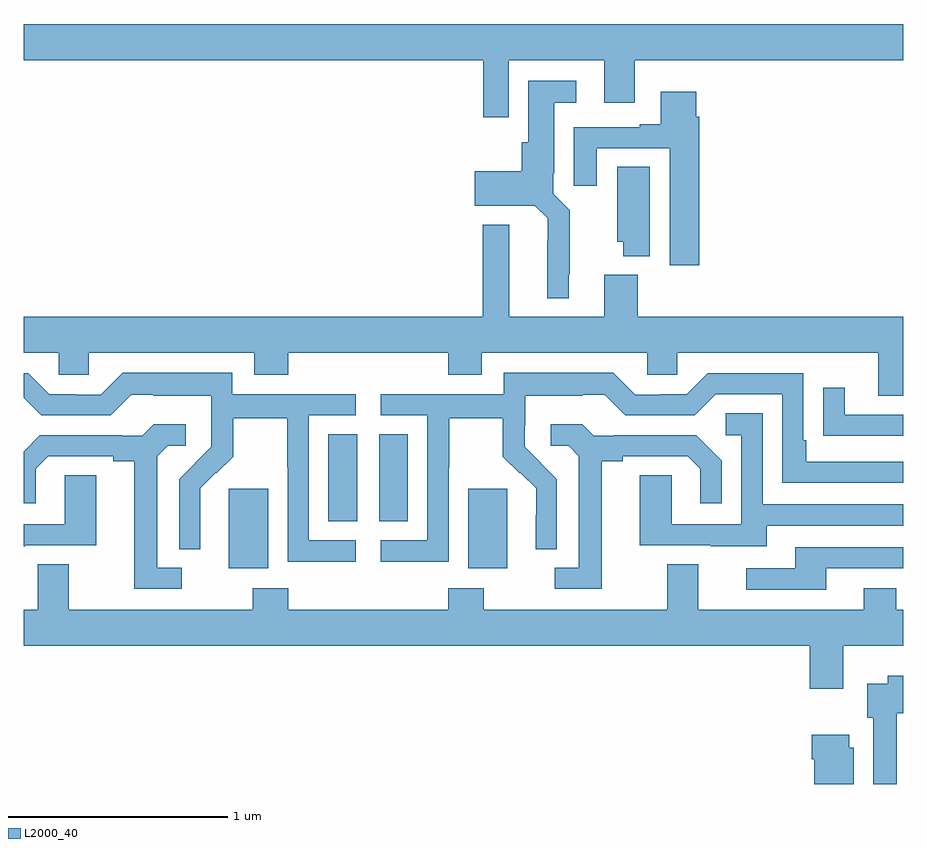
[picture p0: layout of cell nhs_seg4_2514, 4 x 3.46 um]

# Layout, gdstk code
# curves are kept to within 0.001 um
import gdstk
lib = gdstk.Library(unit=1e-6, precision=1e-09)
def R(c, l, rs):  # rectangles x0, y0, x1, y1
    for r in rs: c.add(gdstk.rectangle(r[:2], r[2:], *l))
def P(c, l, *ps):  # polygons
    for p in ps: c.add(gdstk.Polygon(p, *l))
L2000_40 = (2000, 40)

nhs_seg4_2514 = lib.new_cell('nhs_seg4_2514')
R(nhs_seg4_2514, L2000_40, [(243.932,755.882,244.111,756.243), (245.021,755.882,245.2,756.243), (244.385,756.094,244.516,756.491), (244.616,756.094,244.747,756.491)])
P(nhs_seg4_2514, L2000_40, [(245.205,758.192),(245.639,758.192),(245.639,757.998),(245.779,757.998),(245.779,758.192),(247,758.192),(247,758.356),(243,758.356),(243,758.192),(245.089,758.192),(245.089,757.932),(245.205,757.932)],
  [(245.479,757.219),(245.483,757.219),(245.483,757.51),(245.409,757.584),(245.409,757.678),(245.413,757.678),(245.413,757.997),(245.512,757.997),(245.512,758.098),(245.294,758.098),(245.294,757.818),(245.264,757.818),(245.264,757.687),(245.052,757.687),(245.052,757.529),(245.325,757.529),(245.382,757.472),(245.381,757.109),(245.479,757.109)],
  [(246.071,757.934),(246.058,757.934),(246.058,758.047),(245.897,758.047),(245.897,757.9),(245.801,757.9),(245.801,757.887),(245.501,757.887),(245.501,757.62),(245.605,757.62),(245.605,757.791),(245.939,757.791),(245.939,757.26),(246.071,757.26)],
  [(245.848,757.706),(245.699,757.706),(245.699,757.365),(245.726,757.365),(245.726,757.301),(245.848,757.301)],
  [(247,757.024),(245.792,757.024),(245.792,757.216),(245.639,757.216),(245.639,757.024),(245.209,757.024),(245.209,757.444),(245.087,757.444),(245.087,757.024),(243,757.024),(243,756.86),(243.159,756.86),(243.159,756.762),(243.297,756.762),(243.297,756.86),(244.049,756.86),(244.049,756.761),(244.202,756.761),(244.202,756.86),(244.931,756.86),(244.931,756.761),(245.083,756.761),(245.083,756.86),(245.835,756.86),(245.835,756.762),(245.973,756.762),(245.973,756.86),(246.887,756.86),(246.887,756.666),(247,756.666)],
  [(244.51,756.009),(244.296,756.009),(244.296,756.576),(244.51,756.576),(244.51,756.672),(243.948,756.672),(243.948,756.769),(243.451,756.769),(243.351,756.669),(243.236,756.669),(243.236,756.672),(243.117,756.672),(243.021,756.768),(243,756.768),(243,756.657),(243.081,756.576),(243.396,756.576),(243.489,756.669),(243.589,756.669),(243.589,756.665),(243.852,756.665),(243.852,756.531),(243.854,756.531),(243.854,756.434),(243.708,756.286),(243.708,755.968),(243.804,755.968),(243.803,756.245),(243.873,756.315),(243.876,756.312),(243.953,756.389),(243.953,756.564),(244.198,756.564),(244.198,756.34),(244.2,756.34),(244.2,755.911),(244.51,755.911)],
  [(244.932,756.34),(244.935,756.34),(244.935,756.564),(245.179,756.564),(245.179,756.389),(245.256,756.312),(245.259,756.315),(245.33,756.245),(245.33,756.122),(245.328,756.122),(245.328,755.968),(245.424,755.968),(245.424,756.286),(245.278,756.434),(245.278,756.531),(245.28,756.531),(245.28,756.665),(245.543,756.665),(245.543,756.669),(245.643,756.669),(245.736,756.576),(246.051,756.576),(246.147,756.672),(246.45,756.672),(246.45,756.27),(247,756.27),(247,756.366),(246.559,756.366),(246.559,756.463),(246.546,756.463),(246.546,756.768),(246.111,756.768),(246.015,756.672),(245.897,756.672),(245.897,756.669),(245.781,756.669),(245.681,756.769),(245.184,756.769),(245.184,756.672),(244.623,756.672),(244.623,756.576),(244.836,756.576),(244.836,756.009),(244.623,756.009),(244.623,755.911),(244.932,755.911)],
  [(247,756.579),(246.733,756.579),(246.733,756.703),(246.637,756.703),(246.637,756.484),(246.739,756.484),(246.739,756.483),(247,756.483)],
  [(246.379,756.075),(247,756.075),(247,756.171),(246.36,756.171),(246.36,756.587),(246.192,756.587),(246.192,756.486),(246.264,756.486),(246.264,756.081),(245.946,756.081),(245.946,756.305),(245.801,756.305),(245.801,755.985),(246.125,755.985),(246.125,755.981),(246.379,755.981)],
  [(243.718,755.883),(243.607,755.883),(243.607,756.391),(243.654,756.438),(243.736,756.438),(243.736,756.535),(243.592,756.535),(243.54,756.483),(243.446,756.483),(243.446,756.486),(243.074,756.486),(243,756.412),(243,756.177),(243.055,756.177),(243.055,756.333),(243.112,756.39),(243.407,756.39),(243.407,756.368),(243.503,756.368),(243.503,755.787),(243.718,755.787)],
  [(245.629,756.368),(245.725,756.368),(245.725,756.39),(246.02,756.39),(246.077,756.333),(246.077,756.177),(246.174,756.177),(246.174,756.37),(246.058,756.486),(245.686,756.486),(245.686,756.483),(245.592,756.483),(245.54,756.535),(245.397,756.535),(245.397,756.438),(245.478,756.438),(245.525,756.391),(245.525,755.883),(245.415,755.883),(245.415,755.787),(245.629,755.787)],
  [(243.007,755.985),(243.331,755.985),(243.331,756.305),(243.186,756.305),(243.186,756.081),(243,756.081),(243,755.981),(243.007,755.981)],
  [(246.649,755.88),(247,755.88),(247,755.976),(246.509,755.976),(246.509,755.88),(246.285,755.88),(246.285,755.784),(246.649,755.784)],
  [(246.575,755.334),(246.727,755.334),(246.727,755.528),(247,755.528),(247,755.692),(246.969,755.692),(246.969,755.791),(246.821,755.791),(246.821,755.692),(246.067,755.692),(246.067,755.9),(245.927,755.9),(245.927,755.692),(245.091,755.692),(245.091,755.791),(244.931,755.791),(244.931,755.692),(244.202,755.692),(244.202,755.791),(244.042,755.791),(244.042,755.692),(243.205,755.692),(243.205,755.9),(243.065,755.9),(243.065,755.692),(243,755.692),(243,755.528),(246.575,755.528)],
  [(246.97,755.222),(247,755.222),(247,755.392),(246.929,755.392),(246.929,755.356),(246.836,755.356),(246.836,755.202),(246.863,755.202),(246.863,754.9),(246.97,754.9)],
  [(246.775,755.064),(246.754,755.064),(246.754,755.125),(246.584,755.125),(246.584,755.012),(246.596,755.012),(246.596,754.9),(246.775,754.9)])

lib.write_gds('nhs_seg4_2514.gds')
